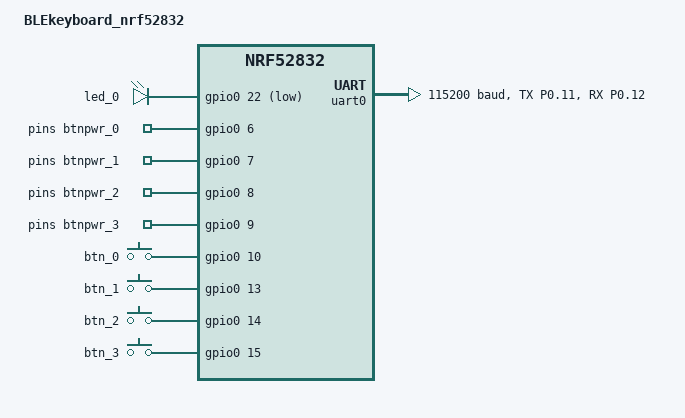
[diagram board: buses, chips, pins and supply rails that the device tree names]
// Copyright (c) 2024 Nordic Semiconductor ASA
// SPDX-License-Identifier: Apache-2.0

/dts-v1/;
#include <nordic/nrf52832_qfaa.dtsi>

/ {
	model = "BLEkeyboard_nrf52832";
	compatible = "blekeyboard-nrf52832";

	chosen {
		zephyr,sram = &sram0;
		zephyr,flash = &flash0;
		zephyr,code-partition = &slot0_partition;
		zephyr,console = &uart0;
		zephyr,shell-uart = &uart0;
		zephyr,uart-mcumgr = &uart0;
	};
	
	aliases {
		led0 = &led_0;
	};

	leds {
		compatible = "gpio-leds";
		led_0: led_0 {
			label = "led_0";
			gpios = <&gpio0 22 (GPIO_ACTIVE_LOW | GPIO_OPEN_DRAIN)>;
		};
		
	};

	pins: zephyr,user {
		btnpwr_0-gpios = <&gpio0 6 0>;
		btnpwr_1-gpios = <&gpio0 7 0>;
		btnpwr_2-gpios = <&gpio0 8 0>;
		btnpwr_3-gpios = <&gpio0 9 0>;
	};

	buttons {
		compatible = "gpio-keys";
		btn_0: btn_0 {
			label = "btn_0";
			gpios = <&gpio0 10 GPIO_PULL_DOWN>;
		};
		btn_1: btn_1 {
			label = "btn_1";
			gpios = <&gpio0 13 GPIO_PULL_DOWN>;
		};
		btn_2: btn_2 {
			label = "btn_2";
			gpios = <&gpio0 14 GPIO_PULL_DOWN>;
		};
		btn_3: btn_3 {
			label = "btn_3";
			gpios = <&gpio0 15 GPIO_PULL_DOWN>;
		};
	};

	};

&flash0 {
	partitions {
		compatible = "fixed-partitions";
		#address-cells = <1>;
		#size-cells = <1>;

		boot_partition: partition@0 {
			label = "mcuboot";
			reg = <0x0 0xc000>;
		};
		slot0_partition: partition@c000 {
			label = "image-0";
			reg = <0xc000 0x32000>;
		};
		slot1_partition: partition@3e000 {
			label = "image-1";
			reg = <0x3e000 0x32000>;
		};
		scratch_partition: partition@70000 {
			label = "image-scratch";
			reg = <0x70000 0xa000>;
		};
		storage_partition: partition@7a000 {
			label = "storage";
			reg = <0x7a000 0x6000>;
		};
	};
};





&gpio0 {
	status = "okay";
};

&gpiote {
	status = "okay";
};

&uart0 {
	status = "okay";
	compatible = "nordic,nrf-uart";
	current-speed = <115200>;
	pinctrl-0 = <&uart0_default>;
	pinctrl-names = "default";
};

&pinctrl {
	uart0_default: uart0_default {
		group1 {
			psels = <NRF_PSEL(UART_TX, 0, 11)>, <NRF_PSEL(UART_RX, 0, 12)>;
		};
	};
};

&nfct {
	status = "disabled";
};

&clock {
	status = "okay";
};

&uicr {
	// Dissable nfc for GPIO 9,10
    nfct-pins-as-gpios;
	// Dissable reset for GPIO 21
	gpio-as-nreset;
};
